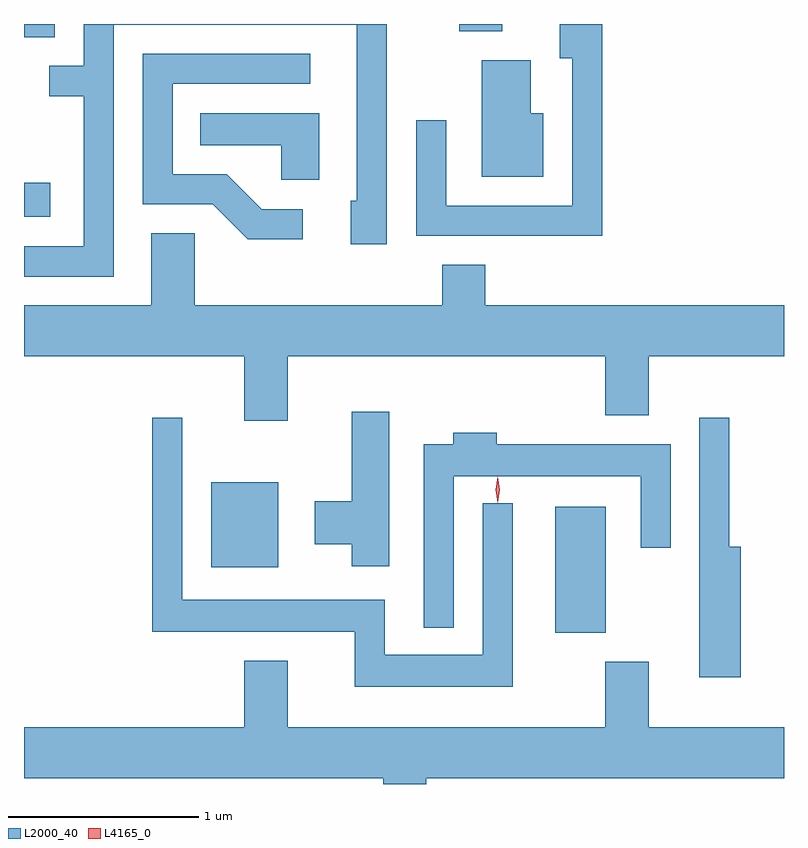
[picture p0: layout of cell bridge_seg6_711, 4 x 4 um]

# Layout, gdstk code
import gdstk
lib = gdstk.Library(unit=1e-6, precision=1e-09)
def R(c, l, rs):  # rectangles x0, y0, x1, y1
    for r in rs: c.add(gdstk.rectangle(r[:2], r[2:], *l))
def P(c, l, *ps):  # polygons
    for p in ps: c.add(gdstk.Polygon(p, *l))
L2000_40 = (2000, 40)
L4165_0 = (4165, 0)

bridge_seg6_711 = lib.new_cell('bridge_seg6_711')
R(bridge_seg6_711, L2000_40, [(440.216,1586.321,440.484,1586.984), (438.406,1586.666,438.759,1587.114), (437.421,1588.511,437.559,1588.689), (437.421,1589.456,437.584,1589.525), (439.711,1589.486,439.939,1589.525)])
P(bridge_seg6_711, L2000_40, [(440.464,1589.525),(440.241,1589.525),(440.241,1589.346),(440.306,1589.346),(440.306,1588.569),(439.644,1588.569),(439.644,1589.018),(439.486,1589.018),(439.486,1588.411),(440.464,1588.411)],
  [(437.894,1589.521),(439.171,1589.521),(439.171,1588.594),(439.141,1588.594),(439.141,1588.366),(439.329,1588.366),(439.329,1589.525),(437.736,1589.525),(437.736,1589.304),(437.553,1589.304),(437.553,1589.146),(437.736,1589.146),(437.736,1588.354),(437.421,1588.354),(437.421,1588.196),(437.894,1588.196)],
  [(438.888,1588.549),(438.672,1588.549),(438.487,1588.734),(438.204,1588.734),(438.204,1589.211),(438.928,1589.211),(438.928,1589.369),(438.046,1589.369),(438.046,1588.576),(438.414,1588.576),(438.599,1588.391),(438.888,1588.391)],
  [(440.154,1589.054),(440.089,1589.054),(440.089,1589.334),(439.831,1589.334),(439.831,1588.721),(440.154,1588.721)],
  [(438.974,1589.054),(438.348,1589.054),(438.348,1588.886),(438.776,1588.886),(438.776,1588.706),(438.974,1588.706)],
  [(438.809,1587.776),(440.481,1587.776),(440.481,1587.466),(440.709,1587.466),(440.709,1587.776),(441.421,1587.776),(441.421,1588.044),(439.849,1588.044),(439.849,1588.259),(439.621,1588.259),(439.621,1588.044),(438.319,1588.044),(438.319,1588.424),(438.091,1588.424),(438.091,1588.044),(437.421,1588.044),(437.421,1587.776),(438.581,1587.776),(438.581,1587.436),(438.809,1587.436)],
  [(439.344,1587.484),(439.146,1587.484),(439.146,1587.014),(438.951,1587.014),(438.951,1586.786),(439.146,1586.786),(439.146,1586.671),(439.344,1586.671)],
  [(439.994,1587.003),(439.836,1587.003),(439.836,1586.204),(439.319,1586.204),(439.319,1586.494),(438.254,1586.494),(438.254,1587.453),(438.096,1587.453),(438.096,1586.326),(439.161,1586.326),(439.161,1586.036),(439.994,1586.036)],
  [(441.194,1586.774),(441.134,1586.774),(441.134,1587.453),(440.976,1587.453),(440.976,1586.086),(441.194,1586.086)],
  [(439.684,1587.146),(440.666,1587.146),(440.666,1586.768),(440.824,1586.768),(440.824,1587.314),(439.909,1587.314),(439.909,1587.374),(439.681,1587.374),(439.681,1587.314),(439.526,1587.314),(439.526,1586.348),(439.684,1586.348)],
  [(439.539,1585.556),(441.421,1585.556),(441.421,1585.824),(440.709,1585.824),(440.709,1586.169),(440.481,1586.169),(440.481,1585.824),(438.809,1585.824),(438.809,1586.174),(438.581,1586.174),(438.581,1585.824),(437.421,1585.824),(437.421,1585.556),(439.311,1585.556),(439.311,1585.525),(439.539,1585.525)])
P(bridge_seg6_711, L4165_0, [(439.914,1587.004),(439.914,1587.004),(439.904,1587.073),(439.914,1587.143),(439.914,1587.143),(439.915,1587.143),(439.924,1587.073),(439.915,1587.004)])

lib.write_gds('bridge_seg6_711.gds')
